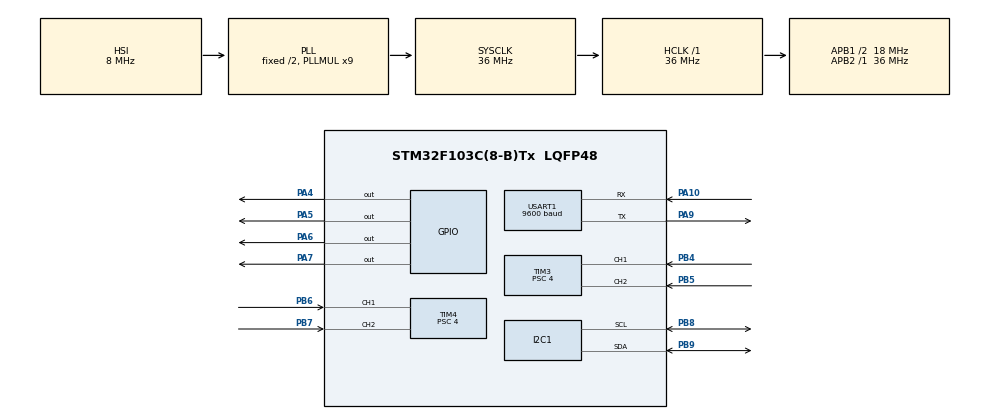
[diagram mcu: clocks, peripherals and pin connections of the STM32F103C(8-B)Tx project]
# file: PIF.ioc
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Mcu.Family=STM32F1
Mcu.Name=STM32F103C(8-B)Tx
Mcu.Package=LQFP48
NVIC.PriorityGroup=NVIC_PRIORITYGROUP_4
NVIC.TIM1_UP_IRQn=true\:2\:0\:true\:false\:true\:true\:true\:true
NVIC.USART1_IRQn=true\:1\:0\:true\:false\:true\:true\:true\:true
PA10.Mode=Asynchronous
PA10.Signal=USART1_RX
PA13.Mode=Serial_Wire
PA13.Signal=SYS_JTMS-SWDIO
PA14.Mode=Serial_Wire
PA14.Signal=SYS_JTCK-SWCLK
PA4.Signal=GPIO_Output
PA5.Signal=GPIO_Output
PA6.Signal=GPIO_Output
PA7.Signal=GPIO_Output
PA9.Mode=Asynchronous
PA9.Signal=USART1_TX
PB4.GPIO_PuPd=GPIO_PULLUP
PB4.Signal=S_TIM3_CH1
PB5.GPIO_PuPd=GPIO_PULLUP
PB5.Signal=S_TIM3_CH2
PB6.GPIO_PuPd=GPIO_PULLUP
PB6.Signal=S_TIM4_CH1
PB7.GPIO_PuPd=GPIO_PULLUP
PB7.Signal=S_TIM4_CH2
PB8.Mode=I2C
PB8.Signal=I2C1_SCL
PB9.Mode=I2C
PB9.Signal=I2C1_SDA
ProjectManager.HeapSize=0x200
ProjectManager.StackSize=0x400
ProjectManager.TargetToolchain=STM32CubeIDE
RCC.AHBFreq_Value=36000000
RCC.APB1CLKDivider=RCC_HCLK_DIV2
RCC.APB1Freq_Value=18000000
RCC.APB1TimFreq_Value=36000000
RCC.APB2Freq_Value=36000000
RCC.APB2TimFreq_Value=36000000
RCC.HCLKFreq_Value=36000000
RCC.PLLMUL=RCC_PLL_MUL9
RCC.SYSCLKFreq_VALUE=36000000
RCC.SYSCLKSource=RCC_SYSCLKSOURCE_PLLCLK
RCC.USBFreq_Value=36000000
SH.S_TIM3_CH1.0=TIM3_CH1,Encoder_Interface
SH.S_TIM3_CH2.0=TIM3_CH2,Encoder_Interface
SH.S_TIM4_CH1.0=TIM4_CH1,Encoder_Interface
SH.S_TIM4_CH2.0=TIM4_CH2,Encoder_Interface
TIM1.Period=9999
TIM1.Prescaler=3599
TIM3.EncoderMode=TIM_ENCODERMODE_TI12
TIM3.Period=65535
TIM3.Prescaler=4
TIM4.EncoderMode=TIM_ENCODERMODE_TI12
TIM4.Period=65535
TIM4.Prescaler=4
USART1.BaudRate=9600
USART1.Mode=MODE_TX_RX
USART1.VirtualMode=VM_ASYNC
VP_TIM1_VS_ClockSourceINT.Mode=Internal
board=custom

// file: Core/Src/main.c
/* USER CODE BEGIN Header */
/**
  ******************************************************************************
  * @file           : main.c
  * @brief          : Main program body
  ******************************************************************************
  * @attention
  *
  * Copyright (c) 2023 STMicroelectronics.
  * All rights reserved.
  *
  * This software is licensed under terms that can be found in the LICENSE file
  * in the root directory of this software component.
  * If no LICENSE file comes with this software, it is provided AS-IS.
  *
  ******************************************************************************
  */
/* USER CODE END Header */
#include "main.h"

/* USER CODE BEGIN Includes */
#include "lcd_i2c.h"
#include "string.h"
#include "stdio.h"
/* USER CODE END Includes */

I2C_HandleTypeDef hi2c1;
TIM_HandleTypeDef htim1;
TIM_HandleTypeDef htim3;
TIM_HandleTypeDef htim4;
UART_HandleTypeDef huart1;

/* USER CODE BEGIN PV */

//LCD_I2C_HandleTypeDef lcd_rpm;

//LCD_I2C_HandleTypeDef lcd_RPM;

LCD_I2C_HandleTypeDef lcd_dis;

float velocity = 0 , rpm = 0, dis = 0;
char rpm_str[8];
char ve_str[8];
char dis_str[8];
char cmd = '/n';
float flag = 0,  flag_1 = 0;
float value_encoder_R = 0 , value_encoder_L = 0, error_R = 0;
float pre_val_enc_L = 0 , pre_val_enc_R = 0 ;

/* USER CODE END PV */

void SystemClock_Config(void);
static void MX_GPIO_Init(void);
static void MX_USART1_UART_Init(void);
static void MX_TIM1_Init(void);
static void MX_TIM3_Init(void);
static void MX_TIM4_Init(void);
static void MX_I2C1_Init(void);

/* USER CODE BEGIN 0 */

   void HAL_TIM_PeriodElapsedCallback(TIM_HandleTypeDef *htim)
    {
	    if(htim->Instance == TIM1)
      {

		   value_encoder_R = __HAL_TIM_GetCounter(&htim3);
	       error_R = value_encoder_R - pre_val_enc_R ;
	       rpm = 60*(error_R/330);  // vong/phut
           velocity = (error_R/330)*(0.07*3.14);    //met/s
           //dis += velocity;
            if(velocity < 0)
              {
        	      velocity = -velocity ;
              }
            else velocity = velocity ;

            dis += velocity ;
		        pre_val_enc_R = value_encoder_R;
		        flag_1 = 1 ;

	    }
    }

    void tien()
      {
      	HAL_GPIO_WritePin(GPIOA, GPIO_PIN_4, 1);
      	HAL_GPIO_WritePin(GPIOA, GPIO_PIN_5, 0);
      	HAL_GPIO_WritePin(GPIOA, GPIO_PIN_6, 0);
      	HAL_GPIO_WritePin(GPIOA, GPIO_PIN_7, 1);
      }
    void lui()
      {
   	    HAL_GPIO_WritePin(GPIOA, GPIO_PIN_4, 0);
      	HAL_GPIO_WritePin(GPIOA, GPIO_PIN_5, 1);
      	HAL_GPIO_WritePin(GPIOA, GPIO_PIN_6, 1);
      	HAL_GPIO_WritePin(GPIOA, GPIO_PIN_7, 0);
      }
    void quay_trai()
      {
   	    HAL_GPIO_WritePin(GPIOA, GPIO_PIN_4, 0);
      	HAL_GPIO_WritePin(GPIOA, GPIO_PIN_5, 0);
      	HAL_GPIO_WritePin(GPIOA, GPIO_PIN_6, 1);
      	HAL_GPIO_WritePin(GPIOA, GPIO_PIN_7, 1);
      }
    void quay_phai()
      {
   	    HAL_GPIO_WritePin(GPIOA, GPIO_PIN_4, 1);
   	    HAL_GPIO_WritePin(GPIOA, GPIO_PIN_5, 1);
   	    HAL_GPIO_WritePin(GPIOA, GPIO_PIN_6, 0);
   	    HAL_GPIO_WritePin(GPIOA, GPIO_PIN_7, 0);
      }
    void dung_lai()
      {
   	   HAL_GPIO_WritePin(GPIOA, GPIO_PIN_4, 0);
   	   HAL_GPIO_WritePin(GPIOA, GPIO_PIN_5, 0);
   	   HAL_GPIO_WritePin(GPIOA, GPIO_PIN_6, 0);
   	   HAL_GPIO_WritePin(GPIOA, GPIO_PIN_7, 0);
      }

    void HAL_UART_RxCpltCallback(UART_HandleTypeDef *huart)
      {
        if(huart->Instance == huart1.Instance)
          {
	          if (cmd != '\n')
	          flag = 1;
          }
      }
    void handle()
      {
        if (flag==1)
          {
              switch(cmd)
                {
                    case 'F':
                      tien();
                      flag = 0;
                      break;

                    case 'B':
                      lui();
                      flag = 0;
                      break;
                    case 'L':
                      quay_trai();
                      flag = 0;
                      break;
                    case 'R':
                      quay_phai();
                      flag = 0;
                      break;
                    case 'S':
                    dung_lai();
                    flag = 0;
                    break;
                }
                  HAL_UART_Receive_IT(&huart1, &cmd, 1);

	        }
      }
/* USER CODE END 0 */

int main(void)
{

  /* MCU Configuration--------------------------------------------------------*/

  /* Reset of all peripherals, Initializes the Flash interface and the Systick. */
  HAL_Init();

  /* Configure the system clock */
  SystemClock_Config();

  /* Initialize all configured peripherals */
  MX_GPIO_Init();
  MX_USART1_UART_Init();
  MX_TIM1_Init();
  MX_TIM3_Init();
  MX_TIM4_Init();
  MX_I2C1_Init();
  /* USER CODE BEGIN 2 */
  HAL_UART_Receive_IT(&huart1, &cmd, 1);
  HAL_TIM_Base_Start_IT(&htim1);
  HAL_TIM_Encoder_Start(&htim3, TIM_CHANNEL_1);
  HAL_TIM_Encoder_Start(&htim3, TIM_CHANNEL_2);
  HAL_TIM_Encoder_Start(&htim4, TIM_CHANNEL_1);
  HAL_TIM_Encoder_Start(&htim4, TIM_CHANNEL_2);
  lcd_i2c_init(&lcd_dis, &hi2c1, 16, 2, 0x27<<1);

  /* USER CODE END 2 */

  /* Infinite loop */
  /* USER CODE BEGIN WHILE */
  while (1)
    {
      handle();
      if (flag_1 == 1)
        {
          lcd_set_cursor(&lcd_dis, 0, 0);
          lcd_send_string(&lcd_dis, "DIS: ");
          lcd_set_cursor(&lcd_dis, 0, 1);
          lcd_send_string(&lcd_dis, "M/s: ");
          snprintf(dis_str, sizeof(dis_str), "%.*lf", 2, dis);
          snprintf(ve_str, sizeof(ve_str), "%.*lf", 2, velocity);
          lcd_set_cursor(&lcd_dis, 5, 0);
          lcd_send_string(&lcd_dis, dis_str);
          lcd_set_cursor(&lcd_dis, 5, 1);
          cd_send_string(&lcd_dis, ve_str);
          flag_1 = 0;
        }
    }
	/*  if (HAL_GetTick() - time_pre >= 1000){
		  lcd_clear(&lcd_rpm);
		  lcd_clear(&lcd_ve);
		  func();
		  rpm = 60*(value_encoder_L/330);  // vong/phut
		  velocity = rpm*(0.07*3.14)/60;
		  sprintf(rpm_str, "%.2f", rpm);
		  lcd_set_cursor(&lcd_rpm, 5, 0);
		  lcd_send_string(&lcd_rpm, rpm_str);
          sprintf(ve_str, "%.2f", velocity);
		  lcd_set_cursor(&lcd_ve, 5, 1);
		  lcd_send_string(&lcd_ve, ve_str);
		  time_pre = HAL_GetTick();
	  } */

    /* USER CODE END WHILE */

void SystemClock_Config(void)
{
  RCC_OscInitTypeDef RCC_OscInitStruct = {0};
  RCC_ClkInitTypeDef RCC_ClkInitStruct = {0};

  /** Initializes the RCC Oscillators according to the specified parameters
  * in the RCC_OscInitTypeDef structure.
  */
  RCC_OscInitStruct.OscillatorType = RCC_OSCILLATORTYPE_HSI;
  RCC_OscInitStruct.HSIState = RCC_HSI_ON;
  RCC_OscInitStruct.HSICalibrationValue = RCC_HSICALIBRATION_DEFAULT;
  RCC_OscInitStruct.PLL.PLLState = RCC_PLL_ON;
  RCC_OscInitStruct.PLL.PLLSource = RCC_PLLSOURCE_HSI_DIV2;
  RCC_OscInitStruct.PLL.PLLMUL = RCC_PLL_MUL9;
  if (HAL_RCC_OscConfig(&RCC_OscInitStruct) != HAL_OK)
  {
    Error_Handler();
  }

  /** Initializes the CPU, AHB and APB buses clocks
  */
  RCC_ClkInitStruct.ClockType = RCC_CLOCKTYPE_HCLK|RCC_CLOCKTYPE_SYSCLK
                              |RCC_CLOCKTYPE_PCLK1|RCC_CLOCKTYPE_PCLK2;
  RCC_ClkInitStruct.SYSCLKSource = RCC_SYSCLKSOURCE_PLLCLK;
  RCC_ClkInitStruct.AHBCLKDivider = RCC_SYSCLK_DIV1;
  RCC_ClkInitStruct.APB1CLKDivider = RCC_HCLK_DIV2;
  RCC_ClkInitStruct.APB2CLKDivider = RCC_HCLK_DIV1;

  if (HAL_RCC_ClockConfig(&RCC_ClkInitStruct, FLASH_LATENCY_1) != HAL_OK)
  {
    Error_Handler();
  }
}

static void MX_I2C1_Init(void)
{

  hi2c1.Instance = I2C1;
  hi2c1.Init.ClockSpeed = 100000;
  hi2c1.Init.DutyCycle = I2C_DUTYCYCLE_2;
  hi2c1.Init.OwnAddress1 = 0;
  hi2c1.Init.AddressingMode = I2C_ADDRESSINGMODE_7BIT;
  hi2c1.Init.DualAddressMode = I2C_DUALADDRESS_DISABLE;
  hi2c1.Init.OwnAddress2 = 0;
  hi2c1.Init.GeneralCallMode = I2C_GENERALCALL_DISABLE;
  hi2c1.Init.NoStretchMode = I2C_NOSTRETCH_DISABLE;
  if (HAL_I2C_Init(&hi2c1) != HAL_OK)
  {
    Error_Handler();
  }

}

static void MX_TIM1_Init(void)
{

  TIM_ClockConfigTypeDef sClockSourceConfig = {0};
  TIM_MasterConfigTypeDef sMasterConfig = {0};

  htim1.Instance = TIM1;
  htim1.Init.Prescaler = 3599;
  htim1.Init.CounterMode = TIM_COUNTERMODE_UP;
  htim1.Init.Period = 9999;
  htim1.Init.ClockDivision = TIM_CLOCKDIVISION_DIV1;
  htim1.Init.RepetitionCounter = 0;
  htim1.Init.AutoReloadPreload = TIM_AUTORELOAD_PRELOAD_DISABLE;
  if (HAL_TIM_Base_Init(&htim1) != HAL_OK)
  {
    Error_Handler();
  }
  sClockSourceConfig.ClockSource = TIM_CLOCKSOURCE_INTERNAL;
  if (HAL_TIM_ConfigClockSource(&htim1, &sClockSourceConfig) != HAL_OK)
  {
    Error_Handler();
  }
  sMasterConfig.MasterOutputTrigger = TIM_TRGO_RESET;
  sMasterConfig.MasterSlaveMode = TIM_MASTERSLAVEMODE_DISABLE;
  if (HAL_TIMEx_MasterConfigSynchronization(&htim1, &sMasterConfig) != HAL_OK)
  {
    Error_Handler();
  }

}

static void MX_TIM3_Init(void)
{

  TIM_Encoder_InitTypeDef sConfig = {0};
  TIM_MasterConfigTypeDef sMasterConfig = {0};

  htim3.Instance = TIM3;
  htim3.Init.Prescaler = 4;
  htim3.Init.CounterMode = TIM_COUNTERMODE_UP;
  htim3.Init.Period = 65535;
  htim3.Init.ClockDivision = TIM_CLOCKDIVISION_DIV1;
  htim3.Init.AutoReloadPreload = TIM_AUTORELOAD_PRELOAD_DISABLE;
  sConfig.EncoderMode = TIM_ENCODERMODE_TI12;
  sConfig.IC1Polarity = TIM_ICPOLARITY_RISING;
  sConfig.IC1Selection = TIM_ICSELECTION_DIRECTTI;
  sConfig.IC1Prescaler = TIM_ICPSC_DIV1;
  sConfig.IC1Filter = 0;
  sConfig.IC2Polarity = TIM_ICPOLARITY_RISING;
  sConfig.IC2Selection = TIM_ICSELECTION_DIRECTTI;
  sConfig.IC2Prescaler = TIM_ICPSC_DIV1;
  sConfig.IC2Filter = 0;
  if (HAL_TIM_Encoder_Init(&htim3, &sConfig) != HAL_OK)
  {
    Error_Handler();
  }
  sMasterConfig.MasterOutputTrigger = TIM_TRGO_RESET;
  sMasterConfig.MasterSlaveMode = TIM_MASTERSLAVEMODE_DISABLE;
  if (HAL_TIMEx_MasterConfigSynchronization(&htim3, &sMasterConfig) != HAL_OK)
  {
    Error_Handler();
  }

}

static void MX_TIM4_Init(void)
{

  TIM_Encoder_InitTypeDef sConfig = {0};
  TIM_MasterConfigTypeDef sMasterConfig = {0};

  htim4.Instance = TIM4;
  htim4.Init.Prescaler = 4;
  htim4.Init.CounterMode = TIM_COUNTERMODE_UP;
  htim4.Init.Period = 65535;
  htim4.Init.ClockDivision = TIM_CLOCKDIVISION_DIV1;
  htim4.Init.AutoReloadPreload = TIM_AUTORELOAD_PRELOAD_DISABLE;
  sConfig.EncoderMode = TIM_ENCODERMODE_TI12;
  sConfig.IC1Polarity = TIM_ICPOLARITY_RISING;
  sConfig.IC1Selection = TIM_ICSELECTION_DIRECTTI;
  sConfig.IC1Prescaler = TIM_ICPSC_DIV1;
  sConfig.IC1Filter = 0;
  sConfig.IC2Polarity = TIM_ICPOLARITY_RISING;
  sConfig.IC2Selection = TIM_ICSELECTION_DIRECTTI;
  sConfig.IC2Prescaler = TIM_ICPSC_DIV1;
  sConfig.IC2Filter = 0;
  if (HAL_TIM_Encoder_Init(&htim4, &sConfig) != HAL_OK)
  {
    Error_Handler();
  }
  sMasterConfig.MasterOutputTrigger = TIM_TRGO_RESET;
  sMasterConfig.MasterSlaveMode = TIM_MASTERSLAVEMODE_DISABLE;
  if (HAL_TIMEx_MasterConfigSynchronization(&htim4, &sMasterConfig) != HAL_OK)
  {
    Error_Handler();
  }

}

static void MX_USART1_UART_Init(void)
{

  huart1.Instance = USART1;
  huart1.Init.BaudRate = 9600;
  huart1.Init.WordLength = UART_WORDLENGTH_8B;
  huart1.Init.StopBits = UART_STOPBITS_1;
  huart1.Init.Parity = UART_PARITY_NONE;
  huart1.Init.Mode = UART_MODE_TX_RX;
  huart1.Init.HwFlowCtl = UART_HWCONTROL_NONE;
  huart1.Init.OverSampling = UART_OVERSAMPLING_16;
  if (HAL_UART_Init(&huart1) != HAL_OK)
  {
    Error_Handler();
  }

}

static void MX_GPIO_Init(void)
{
  GPIO_InitTypeDef GPIO_InitStruct = {0};

  /* GPIO Ports Clock Enable */
  __HAL_RCC_GPIOA_CLK_ENABLE();
  __HAL_RCC_GPIOB_CLK_ENABLE();

  /*Configure GPIO pin Output Level */
  HAL_GPIO_WritePin(GPIOA, GPIO_PIN_4|GPIO_PIN_5|GPIO_PIN_6|GPIO_PIN_7, GPIO_PIN_RESET);

  /*Configure GPIO pins : PA4 PA5 PA6 PA7 */
  GPIO_InitStruct.Pin = GPIO_PIN_4|GPIO_PIN_5|GPIO_PIN_6|GPIO_PIN_7;
  GPIO_InitStruct.Mode = GPIO_MODE_OUTPUT_PP;
  GPIO_InitStruct.Pull = GPIO_NOPULL;
  GPIO_InitStruct.Speed = GPIO_SPEED_FREQ_LOW;
  HAL_GPIO_Init(GPIOA, &GPIO_InitStruct);

}

void Error_Handler(void)
{
  __disable_irq();
  while (1)
  {
  }
}
